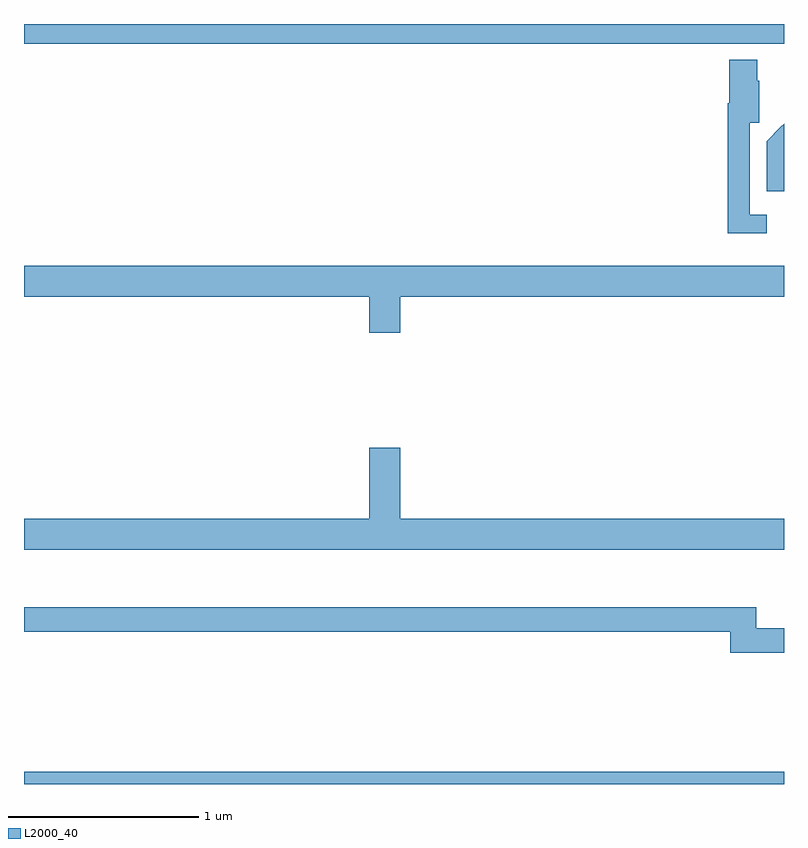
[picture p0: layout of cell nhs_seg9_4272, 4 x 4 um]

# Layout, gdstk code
import gdstk
lib = gdstk.Library(unit=1e-6, precision=1e-09)
def R(c, l, rs):  # rectangles x0, y0, x1, y1
    for r in rs: c.add(gdstk.rectangle(r[:2], r[2:], *l))
def P(c, l, *ps):  # polygons
    for p in ps: c.add(gdstk.Polygon(p, *l))
L2000_40 = (2000, 40)

nhs_seg9_4272 = lib.new_cell('nhs_seg9_4272')
R(nhs_seg9_4272, L2000_40, [(355,1216.5,359,1216.564), (355,1220.396,359,1220.5)])
P(nhs_seg9_4272, L2000_40, [(358.909,1219.497),(358.821,1219.497),(358.821,1219.98),(358.871,1219.98),(358.871,1220.201),(358.858,1220.201),(358.858,1220.311),(358.712,1220.311),(358.712,1220.083),(358.705,1220.083),(358.705,1219.4),(358.909,1219.4)],
  [(359,1219.975),(358.984,1219.959),(358.984,1219.958),(358.91,1219.884),(358.91,1219.62),(359,1219.62)],
  [(356.98,1219.064),(359,1219.064),(359,1219.228),(355,1219.228),(355,1219.064),(356.816,1219.064),(356.816,1218.876),(356.98,1218.876)],
  [(359,1217.896),(356.98,1217.896),(356.98,1218.271),(356.816,1218.271),(356.816,1217.896),(355,1217.896),(355,1217.732),(359,1217.732)],
  [(359,1217.32),(358.853,1217.32),(358.853,1217.431),(355,1217.431),(355,1217.302),(358.717,1217.302),(358.717,1217.191),(359,1217.191)])

lib.write_gds('nhs_seg9_4272.gds')
